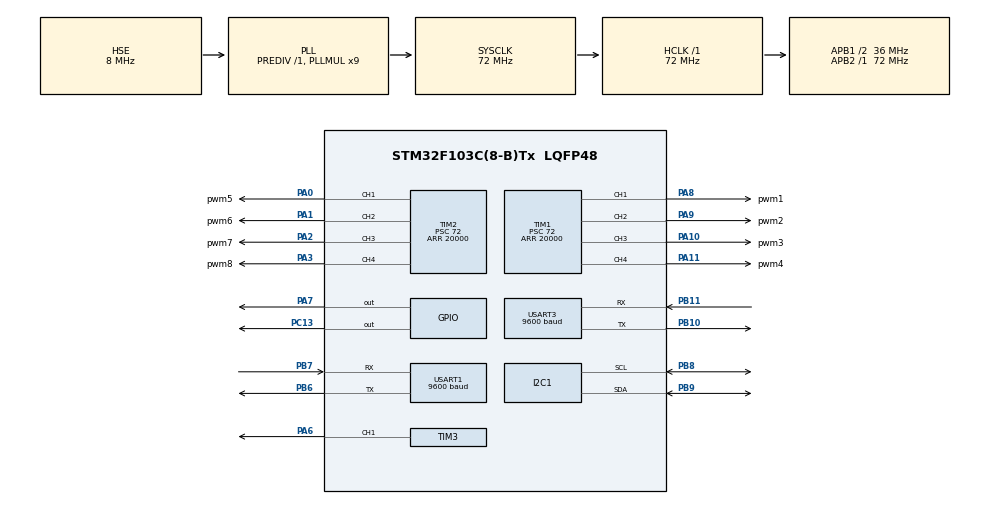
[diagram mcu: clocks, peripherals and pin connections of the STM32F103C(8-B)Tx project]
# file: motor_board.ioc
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Dma.Request0=USART1_RX
Dma.Request1=USART3_RX
Dma.USART1_RX.0.Direction=DMA_PERIPH_TO_MEMORY
Dma.USART1_RX.0.Instance=DMA1_Channel5
Dma.USART1_RX.0.MemDataAlignment=DMA_MDATAALIGN_BYTE
Dma.USART1_RX.0.MemInc=DMA_MINC_ENABLE
Dma.USART1_RX.0.Mode=DMA_NORMAL
Dma.USART1_RX.0.PeriphDataAlignment=DMA_PDATAALIGN_BYTE
Dma.USART1_RX.0.PeriphInc=DMA_PINC_DISABLE
Dma.USART1_RX.0.Priority=DMA_PRIORITY_LOW
Dma.USART3_RX.1.Direction=DMA_PERIPH_TO_MEMORY
Dma.USART3_RX.1.Instance=DMA1_Channel3
Dma.USART3_RX.1.MemDataAlignment=DMA_MDATAALIGN_BYTE
Dma.USART3_RX.1.MemInc=DMA_MINC_ENABLE
Dma.USART3_RX.1.Mode=DMA_NORMAL
Dma.USART3_RX.1.PeriphDataAlignment=DMA_PDATAALIGN_BYTE
Dma.USART3_RX.1.PeriphInc=DMA_PINC_DISABLE
Dma.USART3_RX.1.Priority=DMA_PRIORITY_LOW
Mcu.Family=STM32F1
Mcu.Name=STM32F103C(8-B)Tx
Mcu.Package=LQFP48
NVIC.DMA1_Channel3_IRQn=true\:0\:0\:false\:false\:true\:false\:true\:true
NVIC.DMA1_Channel5_IRQn=true\:0\:0\:false\:false\:true\:false\:true\:true
NVIC.PriorityGroup=NVIC_PRIORITYGROUP_4
NVIC.TIM2_IRQn=true\:0\:0\:false\:false\:true\:true\:true\:true
NVIC.USART1_IRQn=true\:0\:0\:false\:false\:true\:true\:true\:true
NVIC.USART3_IRQn=true\:0\:0\:false\:false\:true\:true\:true\:true
PA0-WKUP.GPIO_Label=pwm5
PA0-WKUP.Signal=S_TIM2_CH1_ETR
PA1.GPIO_Label=pwm6
PA1.Signal=S_TIM2_CH2
PA10.GPIO_Label=pwm3
PA10.Signal=S_TIM1_CH3
PA11.GPIO_Label=pwm4
PA11.Signal=S_TIM1_CH4
PA13.Mode=Trace_Asynchronous_SW
PA13.Signal=SYS_JTMS-SWDIO
PA14.Mode=Trace_Asynchronous_SW
PA14.Signal=SYS_JTCK-SWCLK
PA2.GPIO_Label=pwm7
PA2.Signal=S_TIM2_CH3
PA3.GPIO_Label=pwm8
PA3.Signal=S_TIM2_CH4
PA6.Signal=S_TIM3_CH1
PA7.Signal=GPIO_Output
PA8.GPIO_Label=pwm1
PA8.Signal=S_TIM1_CH1
PA9.GPIO_Label=pwm2
PA9.Signal=S_TIM1_CH2
PB10.Mode=Asynchronous
PB10.Signal=USART3_TX
PB11.Mode=Asynchronous
PB11.Signal=USART3_RX
PB3.Mode=Trace_Asynchronous_SW
PB3.Signal=SYS_JTDO-TRACESWO
PB6.Mode=Asynchronous
PB6.Signal=USART1_TX
PB7.Mode=Asynchronous
PB7.Signal=USART1_RX
PB8.Mode=I2C
PB8.Signal=I2C1_SCL
PB9.Mode=I2C
PB9.Signal=I2C1_SDA
PC13-TAMPER-RTC.Signal=GPIO_Output
PC14-OSC32_IN.Mode=LSE-External-Oscillator
PC14-OSC32_IN.Signal=RCC_OSC32_IN
PC15-OSC32_OUT.Mode=LSE-External-Oscillator
PC15-OSC32_OUT.Signal=RCC_OSC32_OUT
PD0-OSC_IN.Mode=HSE-External-Oscillator
PD0-OSC_IN.Signal=RCC_OSC_IN
PD1-OSC_OUT.Mode=HSE-External-Oscillator
PD1-OSC_OUT.Signal=RCC_OSC_OUT
ProjectManager.HeapSize=0x200
ProjectManager.StackSize=0x400
ProjectManager.TargetToolchain=MDK-ARM V5
RCC.AHBFreq_Value=72000000
RCC.APB1CLKDivider=RCC_HCLK_DIV2
RCC.APB1Freq_Value=36000000
RCC.APB1TimFreq_Value=72000000
RCC.APB2Freq_Value=72000000
RCC.APB2TimFreq_Value=72000000
RCC.HCLKFreq_Value=72000000
RCC.PLLMUL=RCC_PLL_MUL9
RCC.PLLSourceVirtual=RCC_PLLSOURCE_HSE
RCC.SYSCLKFreq_VALUE=72000000
RCC.SYSCLKSource=RCC_SYSCLKSOURCE_PLLCLK
RCC.USBFreq_Value=72000000
SH.S_TIM1_CH1.0=TIM1_CH1,PWM Generation1 CH1
SH.S_TIM1_CH2.0=TIM1_CH2,PWM Generation2 CH2
SH.S_TIM1_CH3.0=TIM1_CH3,PWM Generation3 CH3
SH.S_TIM1_CH4.0=TIM1_CH4,PWM Generation4 CH4
SH.S_TIM2_CH1_ETR.0=TIM2_CH1,PWM Generation1 CH1
SH.S_TIM2_CH2.0=TIM2_CH2,PWM Generation2 CH2
SH.S_TIM2_CH3.0=TIM2_CH3,PWM Generation3 CH3
SH.S_TIM2_CH4.0=TIM2_CH4,PWM Generation4 CH4
SH.S_TIM3_CH1.0=TIM3_CH1,PWM Generation1 CH1
TIM1.Channel-PWM\ Generation1\ CH1=TIM_CHANNEL_1
TIM1.Channel-PWM\ Generation2\ CH2=TIM_CHANNEL_2
TIM1.Channel-PWM\ Generation3\ CH3=TIM_CHANNEL_3
TIM1.Channel-PWM\ Generation4\ CH4=TIM_CHANNEL_4
TIM1.Period=20000
TIM1.Prescaler=72
TIM1.Pulse-PWM\ Generation1\ CH1=1500
TIM1.Pulse-PWM\ Generation2\ CH2=1500
TIM1.Pulse-PWM\ Generation3\ CH3=1500
TIM1.Pulse-PWM\ Generation4\ CH4=1500
TIM2.Channel-PWM\ Generation1\ CH1=TIM_CHANNEL_1
TIM2.Channel-PWM\ Generation2\ CH2=TIM_CHANNEL_2
TIM2.Channel-PWM\ Generation3\ CH3=TIM_CHANNEL_3
TIM2.Channel-PWM\ Generation4\ CH4=TIM_CHANNEL_4
TIM2.Period=20000
TIM2.Prescaler=72
TIM2.Pulse-PWM\ Generation1\ CH1=1500
TIM2.Pulse-PWM\ Generation2\ CH2=1500
TIM2.Pulse-PWM\ Generation3\ CH3=1500
TIM2.Pulse-PWM\ Generation4\ CH4=1500
TIM3.Channel-PWM\ Generation1\ CH1=TIM_CHANNEL_1
TIM3.Period=20000
TIM3.Prescaler=72
TIM3.Pulse-PWM\ Generation1\ CH1=1000
USART1.BaudRate=9600
USART1.Parity=PARITY_EVEN
USART1.VirtualMode=VM_ASYNC
USART1.WordLength=WORDLENGTH_9B
USART3.BaudRate=9600
USART3.Parity=PARITY_EVEN
USART3.VirtualMode=VM_ASYNC
USART3.WordLength=WORDLENGTH_9B
VP_TIM2_VS_ClockSourceINT.Mode=Internal
board=custom

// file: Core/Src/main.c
/* USER CODE BEGIN Header */
/**
  ******************************************************************************
  * @file           : main.c
  * @brief          : Main program body
  ******************************************************************************
  * @attention
  *
  * Copyright (c) 2026 STMicroelectronics.
  * All rights reserved.
  *
  * This software is licensed under terms that can be found in the LICENSE file
  * in the root directory of this software component.
  * If no LICENSE file comes with this software, it is provided AS-IS.
  *
  ******************************************************************************
  */
/* USER CODE END Header */
#include "main.h"
#include "dma.h"
#include "i2c.h"
#include "tim.h"
#include "usart.h"
#include "gpio.h"

/* USER CODE BEGIN Includes */
#include "serial.h"
#include "pwm.h"
#include "stdio.h"
#include "string.h"
/* USER CODE END Includes */

void SystemClock_Config(void);

int main(void)
{

  /* MCU Configuration--------------------------------------------------------*/

  /* Reset of all peripherals, Initializes the Flash interface and the Systick. */
  HAL_Init();

  /* Configure the system clock */
  SystemClock_Config();

  /* Initialize all configured peripherals */
  MX_GPIO_Init();
  MX_DMA_Init();
  MX_TIM2_Init();
  MX_USART1_UART_Init();
  MX_TIM1_Init();
  MX_I2C1_Init();
  MX_USART3_UART_Init();
  MX_TIM3_Init();
  /* USER CODE BEGIN 2 */
	HAL_GPIO_WritePin(GPIOC,GPIO_PIN_13,GPIO_PIN_SET);
	pwm_init();
	serial_init();
//	char str[20];
//	sprintf(str,"hello\n");
//	while(1)
//	{
//	HAL_UART_Transmit(&huart1,str,strlen(str),0xff);
//		HAL_Delay(1000);
//	}
	/*HAL_Delay(3000);
	for(int i=0;i<8;i++)
	{
	pwm[i]=1700;
	set_motor_pwm(pwm);
	HAL_Delay(3000);
	pwm[i]=1500;
	set_motor_pwm(pwm);
	HAL_Delay(10000);
	}
	*/

	/*HAL_TIM_PWM_Start(&htim1,TIM_CHANNEL_1);
	HAL_Delay(5000);
	HAL_TIM_PWM_Start(&htim1,TIM_CHANNEL_2);
	HAL_Delay(5000);
	HAL_TIM_PWM_Start(&htim1,TIM_CHANNEL_3);
	HAL_Delay(5000);
	HAL_TIM_PWM_Start(&htim1,TIM_CHANNEL_4);
	HAL_Delay(5000);
	HAL_TIM_PWM_Start(&htim2,TIM_CHANNEL_1);
	HAL_Delay(5000);
	HAL_TIM_PWM_Start(&htim2,TIM_CHANNEL_2);
	HAL_Delay(5000);
	HAL_TIM_PWM_Start(&htim2,TIM_CHANNEL_3);
	HAL_Delay(5000);
	HAL_TIM_PWM_Start(&htim2,TIM_CHANNEL_4);
	HAL_Delay(5000);

	HAL_TIM_PWM_Start(&htim3,TIM_CHANNEL_1);
	HAL_Delay(5000);
	HAL_TIM_PWM_Start(&htim3,TIM_CHANNEL_2);
	HAL_Delay(5000);*/

//serial_init();
  /* USER CODE END 2 */

  /* Infinite loop */
  /* USER CODE BEGIN WHILE */
	for(int i=0;i<8;i++)
	{
		pwm[i]=1500;
	}
	pwm[8]=1000;//灯
	pwm[9]=1000;//磁铁
	//__HAL_TIM_SET_COMPARE(&htim3,TIM_CHANNEL_1,1000);//灯
	//__HAL_TIM_SET_COMPARE(&htim3,TIM_CHANNEL_2,1500);//磁铁
	//HAL_GPIO_WritePin(GPIOA,GPIO_PIN_6,1);
	//HAL_GPIO_WritePin(GPIOA,GPIO_PIN_7,0);//磁铁？
	HAL_GPIO_WritePin(GPIOA,GPIO_PIN_7,1);//磁铁
	//set_motor_pwm(pwm);

  while (1)
  {

		//uint8_t msg[4]={0xfa,0x11,0x01,0x02};
		//HAL_UART_Transmit(&huart1,msg,4,0xff);
		//int timeout=0;
		//HAL_Delay(5);
		if(uart1_it_flag==1)
		{
			if(uart1_msg.len==22)
			{serial_parse_data(uart1_msg.data,uart1_msg.len);
			    //data_swap(pwm,20,2);
			//set_motor_pwm(pwm);

		set_motor_pwm(pwm);
				if(pwm[9]>=1500)
				{
					HAL_GPIO_WritePin(GPIOA,GPIO_PIN_7,0);//磁铁
				}
				else
				{
					HAL_GPIO_WritePin(GPIOA,GPIO_PIN_7,1);//磁铁
				}
			}
			uart1_it_flag=0;
		}
		/*else{
		for(int i=0;i<8;i++)
		{
		pwm[i]=1500;
		}

		//???

		}*/

		HAL_Delay(50);

    /* USER CODE END WHILE */

  }
}

void SystemClock_Config(void)
{
  RCC_OscInitTypeDef RCC_OscInitStruct = {0};
  RCC_ClkInitTypeDef RCC_ClkInitStruct = {0};

  /** Initializes the RCC Oscillators according to the specified parameters
  * in the RCC_OscInitTypeDef structure.
  */
  RCC_OscInitStruct.OscillatorType = RCC_OSCILLATORTYPE_HSE;
  RCC_OscInitStruct.HSEState = RCC_HSE_ON;
  RCC_OscInitStruct.HSEPredivValue = RCC_HSE_PREDIV_DIV1;
  RCC_OscInitStruct.HSIState = RCC_HSI_ON;
  RCC_OscInitStruct.PLL.PLLState = RCC_PLL_ON;
  RCC_OscInitStruct.PLL.PLLSource = RCC_PLLSOURCE_HSE;
  RCC_OscInitStruct.PLL.PLLMUL = RCC_PLL_MUL9;
  if (HAL_RCC_OscConfig(&RCC_OscInitStruct) != HAL_OK)
  {
    Error_Handler();
  }

  /** Initializes the CPU, AHB and APB buses clocks
  */
  RCC_ClkInitStruct.ClockType = RCC_CLOCKTYPE_HCLK|RCC_CLOCKTYPE_SYSCLK
                              |RCC_CLOCKTYPE_PCLK1|RCC_CLOCKTYPE_PCLK2;
  RCC_ClkInitStruct.SYSCLKSource = RCC_SYSCLKSOURCE_PLLCLK;
  RCC_ClkInitStruct.AHBCLKDivider = RCC_SYSCLK_DIV1;
  RCC_ClkInitStruct.APB1CLKDivider = RCC_HCLK_DIV2;
  RCC_ClkInitStruct.APB2CLKDivider = RCC_HCLK_DIV1;

  if (HAL_RCC_ClockConfig(&RCC_ClkInitStruct, FLASH_LATENCY_2) != HAL_OK)
  {
    Error_Handler();
  }
}

void Error_Handler(void)
{
  __disable_irq();
  while (1)
  {
  }
}
